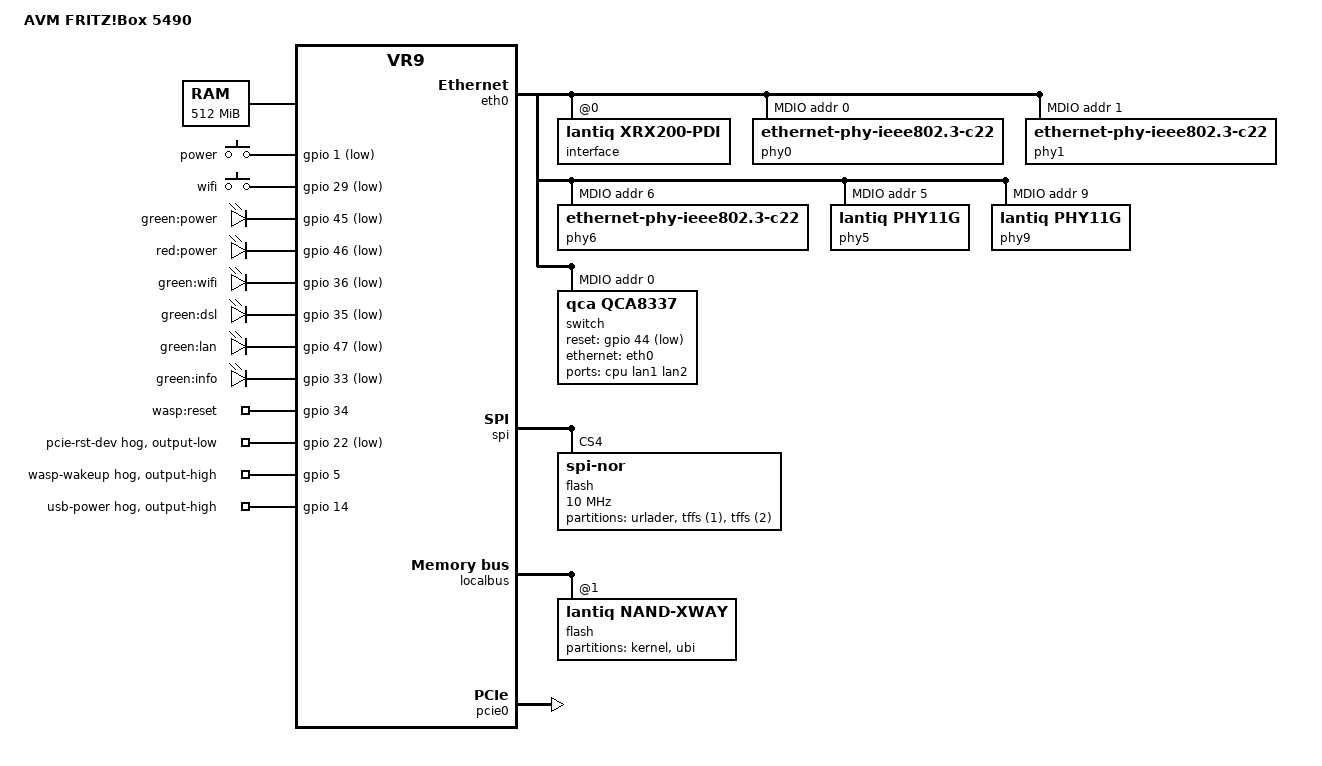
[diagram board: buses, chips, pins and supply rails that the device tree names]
/dts-v1/;

#include "vr9.dtsi"

#include <dt-bindings/input/input.h>
#include <dt-bindings/mips/lantiq_rcu_gphy.h>

/ {
	compatible = "avm,fritz5490", "lantiq,xway", "lantiq,vr9";
	model = "AVM FRITZ!Box 5490";

	chosen {
		bootargs = "console=ttyLTQ0,115200";
	};

	aliases {
		led-boot = &led_power_green;
		led-failsafe = &led_power_red;
		led-running = &led_power_green;
		led-upgrade = &led_power_red;

		led-dsl = &led_dsl;
		led-internet = &led_info;
		led-wifi = &led_wifi;
	};

	memory@0 {
		device_type = "memory";
		reg = <0x0 0x20000000>;
	};

	keys {
		compatible = "gpio-keys-polled";
		poll-interval = <100>;

		power {
			label = "power";
			gpios = <&gpio 1 GPIO_ACTIVE_LOW>;
			linux,code = <KEY_POWER>;
		};

		wifi {
			label = "wifi";
			gpios = <&gpio 29 GPIO_ACTIVE_LOW>;
			linux,code = <KEY_RFKILL>;
		};
	};

	leds {
		compatible = "gpio-leds";

		led_power_green: power_green {
			label = "green:power";
			gpios = <&gpio 45 GPIO_ACTIVE_LOW>;
			default-state = "keep";
		};

		led_power_red: power_red {
			label = "red:power";
			gpios = <&gpio 46 GPIO_ACTIVE_LOW>;
		};

		led_wifi: wifi {
			label = "green:wifi";
			gpios = <&gpio 36 GPIO_ACTIVE_LOW>;
		};

		led_dsl: dsl {
			label = "green:dsl";
			gpios = <&gpio 35 GPIO_ACTIVE_LOW>;
		};

		led_lan {
			label = "green:lan";
			gpios = <&gpio 47 GPIO_ACTIVE_LOW>;
		};

		led_info: info {
			label = "green:info";
			gpios = <&gpio 33 GPIO_ACTIVE_LOW>;
		};
	};

	gpio-export {
		compatible = "gpio-export";

		gpio_wasp_reset {
			gpio-export,name = "wasp:reset";
			gpio-export,output = <1>;
			gpios = <&gpio 34 GPIO_ACTIVE_HIGH>;
		};
	};
};

&eth0 {
	interface@0 {
		compatible = "lantiq,xrx200-pdi";
		#address-cells = <1>;
		#size-cells = <0>;
		reg = <0>;

		lantiq,switch;

		ethernet@0 {
			compatible = "lantiq,xrx200-pdi-port";
			reg = <0>;
			phy-mode = "rgmii-idtx";
			phy-handle = <&phy6>;
			gpios = <&gpio 32 GPIO_ACTIVE_LOW>;
		};

		ethernet@1 { /* point to AR8334 switch */
			compatible = "lantiq,xrx200-pdi-port";
			reg = <1>;
			phy-mode = "rgmii-id";

			fixed-link {
				speed = <1000>;
				full-duplex;
			};
		};

		ethernet@2 {
			compatible = "lantiq,xrx200-pdi-port";
			reg = <2>;
			phy-mode = "gmii";
			phy-handle = <&phy5>;
		};

		ethernet@4 {
			compatible = "lantiq,xrx200-pdi-port";
			reg = <4>;
			phy-mode = "gmii";
			phy-handle = <&phy9>;
		};

		ethernet@5 {
			compatible = "lantiq,xrx200-pdi-port";
			reg = <5>;
			phy-mode = "rgmii";

			fixed-link {
				speed = <1000>;
				full-duplex;
			};
		};
	};

	mdio {
		#address-cells = <1>;
		#size-cells = <0>;
		compatible = "lantiq,xrx200-mdio";

		phy0: ethernet-phy@0 {
			reg = <0x0>;
			compatible = "ethernet-phy-ieee802.3-c22";
		};

		phy1: ethernet-phy@1 {
			reg = <0x1>;
			compatible = "ethernet-phy-ieee802.3-c22";
		};

		phy6: ethernet-phy@6 {
			reg = <0x6>;
			compatible = "ethernet-phy-ieee802.3-c22";
		};

		phy5: ethernet-phy@5 {
			reg = <0x05>;
			compatible = "lantiq,phy11g", "ethernet-phy-ieee802.3-c22";
		};

		phy9: ethernet-phy@9 {
			reg = <0x09>;
			compatible = "lantiq,phy11g", "ethernet-phy-ieee802.3-c22";
		};

		switch@0 {
			compatible = "qca,qca8337";
			#address-cells = <1>;
			#size-cells = <0>;

			reset-gpios = <&gpio 44 GPIO_ACTIVE_LOW>;
			reg = <0>;

			ports {
				#address-cells = <1>;
				#size-cells = <0>;
				port@0 {
					reg = <0>;
					label = "cpu";
					ethernet = <&eth0>;
					phy-mode = "rgmii-id";
					fixed-link {
						speed = <1000>;
						full-duplex;
					};
				};

				port@1 {
					reg = <1>;
					label = "lan1";
					phy-handle = <&phy0>;
				};

				port@2 {
					reg = <2>;
					label = "lan2";
					phy-handle = <&phy1>;
				};
			};
		};
	};
};

&gphy0 {
	lantiq,gphy-mode = <GPHY_MODE_GE>;
};

&gphy1 {
	lantiq,gphy-mode = <GPHY_MODE_GE>;
};

&gpio {

	pinctrl-names = "default";
	pinctrl-0 = <&state_default>;
	state_default: pinmux {

		phy-rst {
			lantiq,pins = "io32", "io44";
			lantiq,pull = <0>;
			lantiq,open-drain;
			lantiq,output = <1>;
		};

		pcie-rst {
			lantiq,pins = "io21";
			lantiq,open-drain;
			lantiq,output = <1>;
		};
	};

	pcie-rst-dev {
		gpio-hog;
		line-name = "pcie-rst-dev";
		gpios = <22 GPIO_ACTIVE_LOW>;
		output-low;
	};

	wasp-wakeup {
		gpio-hog;
		line-name = "wasp-wakeup";
		gpios = <5 GPIO_ACTIVE_HIGH>;
		output-high;
	};

	usb-power {
		gpio-hog;
		line-name = "usb-power";
		gpios = <14 GPIO_ACTIVE_HIGH>;
		output-high;
	};
};

&spi {
	status = "okay";

	flash@4 {
		compatible = "jedec,spi-nor";
		reg = <4>;
		spi-max-frequency = <10000000>;

		partitions {
			compatible = "fixed-partitions";
			#address-cells = <1>;
			#size-cells = <1>;

			urlader: partition@0 {
				reg = <0x0 0x40000>;
				label = "urlader";
				read-only;
			};

			partition@20000 {
				reg = <0x40000 0x60000>;
				label = "tffs (1)";
				read-only;
			};

			partition@30000 {
				reg = <0xa0000 0x60000>;
				label = "tffs (2)";
				read-only;
			};
		};
	};
};

&localbus {
	flash@1 {
		compatible = "lantiq,nand-xway";
		bank-width = <2>;
		reg = <0x1 0x0 0x2000000>;

		nand-ecc-mode = "on-die";

		partitions {
			compatible = "fixed-partitions";
			#address-cells = <1>;
			#size-cells = <1>;

			partition@0 {
				label = "kernel";
				reg = <0x0 0x400000>;
			};

			partition@400000 {
				label = "ubi";
				reg = <0x400000 0x1fc00000>;
			};
		};
	};
};

&pcie0 {
	status = "okay";

	gpio-reset = <&gpio 21 GPIO_ACTIVE_LOW>;
};
